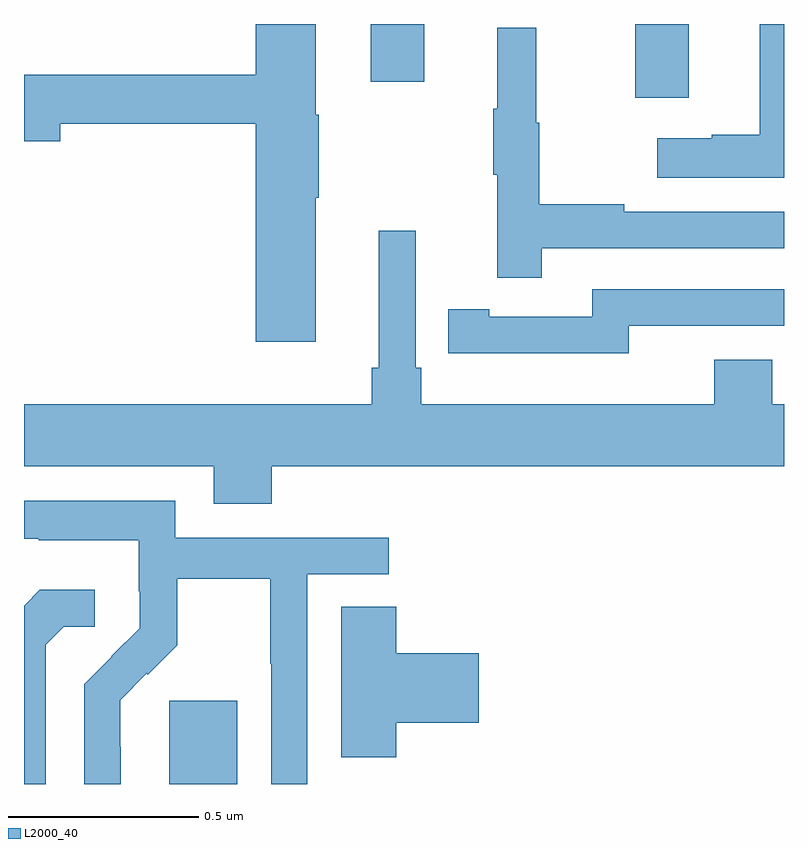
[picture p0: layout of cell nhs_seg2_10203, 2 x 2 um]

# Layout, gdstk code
import gdstk
lib = gdstk.Library(unit=1e-6, precision=1e-09)
def R(c, l, rs):  # rectangles x0, y0, x1, y1
    for r in rs: c.add(gdstk.rectangle(r[:2], r[2:], *l))
def P(c, l, *ps):  # polygons
    for p in ps: c.add(gdstk.Polygon(p, *l))
L2000_40 = (2000, 40)

nhs_seg2_10203 = lib.new_cell('nhs_seg2_10203')
R(nhs_seg2_10203, L2000_40, [(238.382,646.8,238.561,647.019), (239.609,648.606,239.749,648.8), (238.913,648.648,239.053,648.8)])
P(nhs_seg2_10203, L2000_40, [(238.768,648.343),(238.776,648.343),(238.776,648.561),(238.768,648.561),(238.768,648.799),(238.61,648.799),(238.61,648.667),(238,648.667),(238,648.491),(238.096,648.491),(238.096,648.538),(238.61,648.538),(238.61,647.964),(238.768,647.964)],
  [(240,648.799),(239.936,648.799),(239.936,648.509),(239.81,648.509),(239.81,648.499),(239.667,648.499),(239.667,648.395),(240,648.395)],
  [(239.363,648.21),(240,648.21),(240,648.306),(239.579,648.306),(239.579,648.326),(239.356,648.326),(239.356,648.54),(239.348,648.54),(239.348,648.79),(239.246,648.79),(239.246,648.577),(239.235,648.577),(239.235,648.403),(239.246,648.403),(239.246,648.132),(239.363,648.132)],
  [(238,647.636),(238.499,647.636),(238.499,647.537),(238.652,647.537),(238.652,647.636),(240,647.636),(240,647.8),(239.969,647.8),(239.969,647.917),(239.816,647.917),(239.816,647.8),(239.045,647.8),(239.045,647.896),(239.031,647.896),(239.031,648.256),(238.934,648.256),(238.934,647.896),(238.915,647.896),(238.915,647.8),(238,647.8)],
  [(239.592,648.006),(240,648.006),(240,648.102),(239.496,648.102),(239.496,648.03),(239.224,648.03),(239.224,648.05),(239.116,648.05),(239.116,647.934),(239.224,647.934),(239.224,647.933),(239.592,647.933)],
  [(238.254,646.898),(238.253,646.898),(238.253,647.021),(238.323,647.091),(238.326,647.088),(238.403,647.165),(238.403,647.34),(238.648,647.34),(238.648,647.116),(238.65,647.116),(238.65,646.8),(238.746,646.8),(238.746,647.352),(238.96,647.352),(238.96,647.448),(238.398,647.448),(238.398,647.545),(238,647.545),(238,647.445),(238.039,647.445),(238.039,647.441),(238.302,647.441),(238.302,647.307),(238.304,647.307),(238.304,647.21),(238.23,647.136),(238.231,647.135),(238.158,647.062),(238.158,646.8),(238.254,646.8)],
  [(238.057,647.167),(238.104,647.214),(238.186,647.214),(238.186,647.311),(238.042,647.311),(238,647.269),(238,646.8),(238.057,646.8)],
  [(238.979,646.961),(239.197,646.961),(239.197,647.144),(238.979,647.144),(238.979,647.267),(238.835,647.267),(238.835,646.87),(238.979,646.87)])

lib.write_gds('nhs_seg2_10203.gds')
